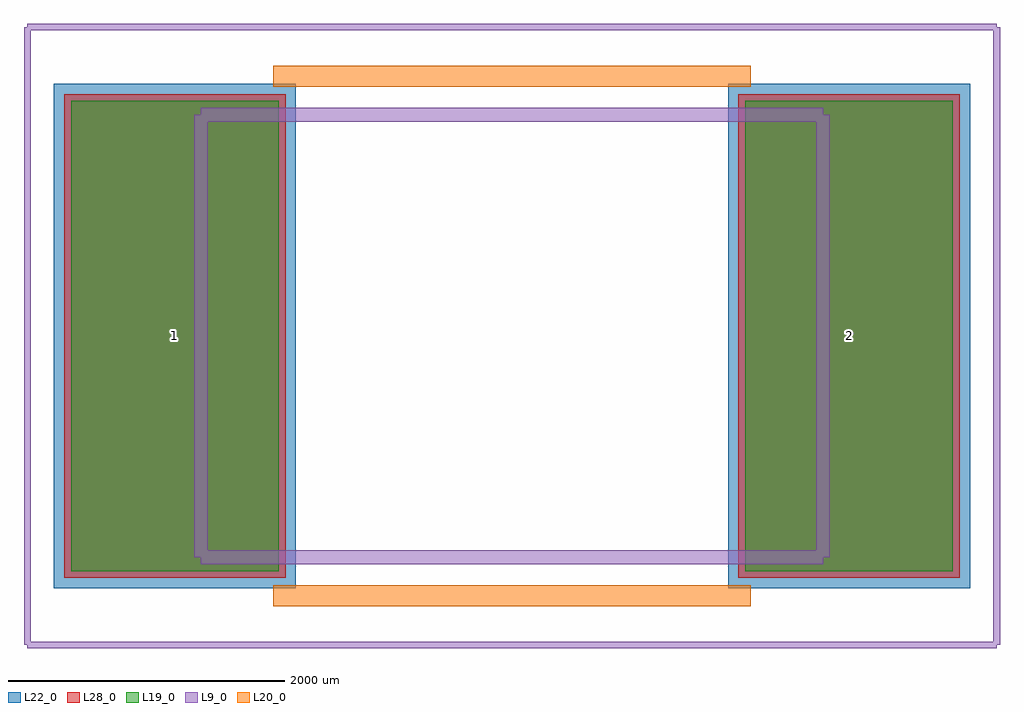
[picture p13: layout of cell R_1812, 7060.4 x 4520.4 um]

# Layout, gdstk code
import gdstk
lib = gdstk.Library(unit=1e-6, precision=1e-09)
def R(c, l, rs):  # rectangles x0, y0, x1, y1
    for r in rs: c.add(gdstk.rectangle(r[:2], r[2:], *l))
L9_0 = (9, 0)
L19_0 = (19, 0)
L20_0 = (20, 0)
L22_0 = (22, 0)
L28_0 = (28, 0)

r_1812 = lib.new_cell('R_1812')
R(r_1812, L19_0, [(-3188.4,-1700,-1688.4,1700), (1688.4,-1700,3188.4,1700)])
R(r_1812, L22_0, [(-3313.4,-1825,-1563.4,1825), (1563.4,-1825,3313.4,1825)])
R(r_1812, L28_0, [(-3238.4,-1750,-1638.4,1750), (1638.4,-1750,3238.4,1750)])
r_1812.add(gdstk.FlexPath([(-1727.2,1879.6),(1727.2,1879.6)], 149.998, ends="flush", simple_path=True, layer=20, datatype=0))  # L20_0
r_1812.add(gdstk.FlexPath([(-1727.2,-1879.6),(1727.2,-1879.6)], 149.998, ends="flush", simple_path=True, layer=20, datatype=0))  # L20_0
r_1812.add(gdstk.FlexPath([(-3505.2,-2235.2),(-3505.2,2235.2)], 50, ends="flush", simple_path=True, layer=9, datatype=0))  # L9_0
r_1812.add(gdstk.FlexPath([(3505.2,-2235.2),(-3505.2,-2235.2)], 50, ends="flush", simple_path=True, layer=9, datatype=0))  # L9_0
r_1812.add(gdstk.FlexPath([(3505.2,2235.2),(3505.2,-2235.2)], 50, ends="flush", simple_path=True, layer=9, datatype=0))  # L9_0
r_1812.add(gdstk.FlexPath([(-3505.2,2235.2),(3505.2,2235.2)], 50, ends="flush", simple_path=True, layer=9, datatype=0))  # L9_0
r_1812.add(gdstk.FlexPath([(-2250,1600),(2250,1600)], 100, ends="flush", simple_path=True, layer=9, datatype=0))  # L9_0
r_1812.add(gdstk.FlexPath([(2250,1600),(2250,-1600)], 100, ends="flush", simple_path=True, layer=9, datatype=0))  # L9_0
r_1812.add(gdstk.FlexPath([(2250,-1600),(-2250,-1600)], 100, ends="flush", simple_path=True, layer=9, datatype=0))  # L9_0
r_1812.add(gdstk.FlexPath([(-2250,-1600),(-2250,1600)], 100, ends="flush", simple_path=True, layer=9, datatype=0))  # L9_0
r_1812.add(gdstk.Label('2', (2438.4,0), layer=28, texttype=0))
r_1812.add(gdstk.Label('1', (-2438.4,0), layer=28, texttype=0))
r_1812.add(gdstk.Label('type', (0,-3175), layer=9, texttype=0))
r_1812.add(gdstk.Label('devicename', (0,3175), layer=9, texttype=0))

lib.write_gds('R_1812.gds')
